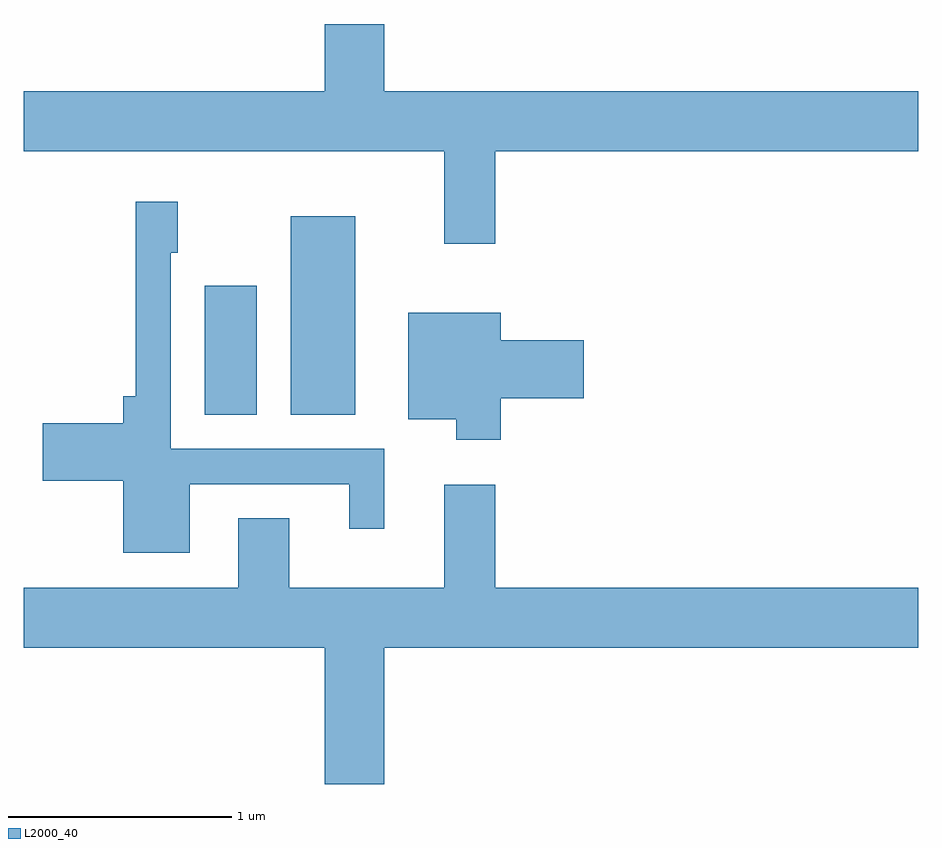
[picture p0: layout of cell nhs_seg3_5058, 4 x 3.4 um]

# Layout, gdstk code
import gdstk
lib = gdstk.Library(unit=1e-6, precision=1e-09)
def R(c, l, rs):  # rectangles x0, y0, x1, y1
    for r in rs: c.add(gdstk.rectangle(r[:2], r[2:], *l))
def P(c, l, *ps):  # polygons
    for p in ps: c.add(gdstk.Polygon(p, *l))
L2000_40 = (2000, 40)

nhs_seg3_5058 = lib.new_cell('nhs_seg3_5058')
R(nhs_seg3_5058, L2000_40, [(334.421,1178.116,334.654,1178.694), (334.806,1178.116,335.094,1179.004)])
P(nhs_seg3_5058, L2000_40, [(335.719,1179.296),(337.611,1179.296),(337.611,1179.564),(335.224,1179.564),(335.224,1179.864),(334.956,1179.864),(334.956,1179.564),(333.611,1179.564),(333.611,1179.296),(335.491,1179.296),(335.491,1178.881),(335.719,1178.881)],
  [(334.354,1177.806),(335.066,1177.806),(335.066,1177.608),(335.224,1177.608),(335.224,1177.964),(334.269,1177.964),(334.269,1178.841),(334.299,1178.841),(334.299,1179.069),(334.111,1179.069),(334.111,1178.199),(334.056,1178.199),(334.056,1178.079),(333.696,1178.079),(333.696,1177.821),(334.056,1177.821),(334.056,1177.501),(334.354,1177.501)],
  [(335.744,1178.191),(336.114,1178.191),(336.114,1178.449),(335.744,1178.449),(335.744,1178.574),(335.331,1178.574),(335.331,1178.096),(335.546,1178.096),(335.546,1178.006),(335.744,1178.006)],
  [(335.224,1177.076),(337.611,1177.076),(337.611,1177.344),(335.719,1177.344),(335.719,1177.804),(335.491,1177.804),(335.491,1177.344),(334.799,1177.344),(334.799,1177.654),(334.571,1177.654),(334.571,1177.344),(333.611,1177.344),(333.611,1177.076),(334.956,1177.076),(334.956,1176.466),(335.224,1176.466)])

lib.write_gds('nhs_seg3_5058.gds')
